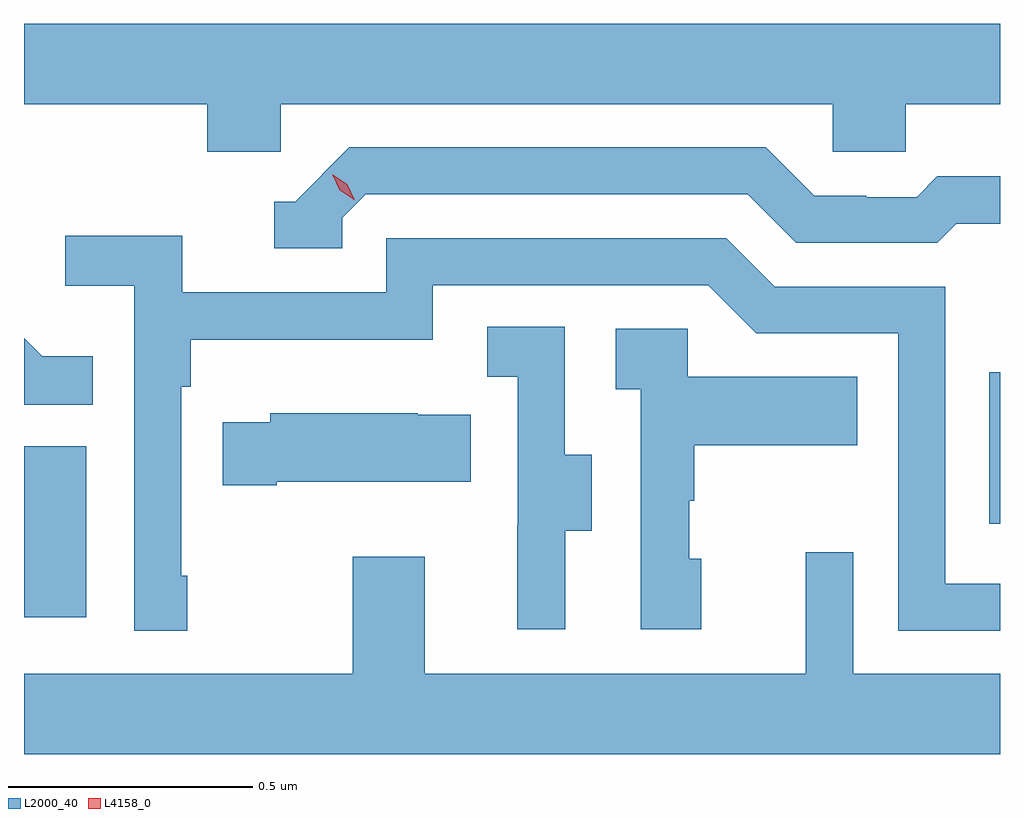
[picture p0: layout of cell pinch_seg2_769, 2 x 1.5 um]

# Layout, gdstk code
import gdstk
lib = gdstk.Library(unit=1e-6, precision=1e-09)
def R(c, l, rs):  # rectangles x0, y0, x1, y1
    for r in rs: c.add(gdstk.rectangle(r[:2], r[2:], *l))
def P(c, l, *ps):  # polygons
    for p in ps: c.add(gdstk.Polygon(p, *l))
L2000_40 = (2000, 40)
L4158_0 = (4158, 0)

pinch_seg2_769 = lib.new_cell('pinch_seg2_769')
R(pinch_seg2_769, L2000_40, [(885.542,646.584,885.67,646.935), (887.52,646.776,887.542,647.086)])
P(pinch_seg2_769, L2000_40, [(886.068,647.636),(887.199,647.636),(887.199,647.538),(887.349,647.538),(887.349,647.636),(887.542,647.636),(887.542,647.8),(885.542,647.8),(885.542,647.636),(885.917,647.636),(885.917,647.538),(886.068,647.538)],
  [(886.194,647.403),(886.242,647.451),(887.025,647.451),(887.124,647.352),(887.413,647.352),(887.452,647.391),(887.542,647.391),(887.542,647.488),(887.413,647.488),(887.371,647.445),(887.268,647.445),(887.268,647.448),(887.161,647.448),(887.062,647.547),(886.209,647.547),(886.098,647.436),(886.055,647.436),(886.055,647.34),(886.194,647.34)],
  [(885.877,646.669),(885.864,646.669),(885.864,647.057),(885.884,647.057),(885.884,647.153),(886.38,647.153),(886.38,647.265),(886.944,647.265),(887.043,647.166),(887.334,647.166),(887.334,646.557),(887.542,646.557),(887.542,646.653),(887.43,646.653),(887.43,647.262),(887.08,647.262),(886.981,647.361),(886.284,647.361),(886.284,647.25),(885.866,647.25),(885.866,647.366),(885.627,647.366),(885.627,647.264),(885.768,647.264),(885.768,646.557),(885.877,646.557)],
  [(886.651,646.762),(886.705,646.762),(886.705,646.917),(886.65,646.917),(886.65,647.18),(886.491,647.18),(886.491,647.077),(886.554,647.077),(886.554,646.773),(886.553,646.773),(886.553,646.56),(886.651,646.56)],
  [(886.93,646.704),(886.905,646.704),(886.905,646.823),(886.915,646.823),(886.915,646.937),(887.249,646.937),(887.249,647.077),(886.902,647.077),(886.902,647.175),(886.755,647.175),(886.755,647.051),(886.806,647.051),(886.806,646.56),(886.93,646.56)],
  [(885.683,647.119),(885.579,647.119),(885.542,647.156),(885.542,647.02),(885.683,647.02)],
  [(886.06,646.862),(886.457,646.862),(886.457,646.999),(886.349,646.999),(886.349,647.002),(886.047,647.002),(886.047,646.984),(885.949,646.984),(885.949,646.855),(886.06,646.855)],
  [(887.542,646.468),(887.241,646.468),(887.241,646.717),(887.144,646.717),(887.144,646.468),(886.363,646.468),(886.363,646.708),(886.216,646.708),(886.216,646.468),(885.542,646.468),(885.542,646.304),(887.542,646.304)])
P(pinch_seg2_769, L4158_0, [(886.22,647.439),(886.189,647.459),(886.174,647.492),(886.174,647.492),(886.174,647.492),(886.204,647.472),(886.22,647.439),(886.22,647.439)])

lib.write_gds('pinch_seg2_769.gds')
